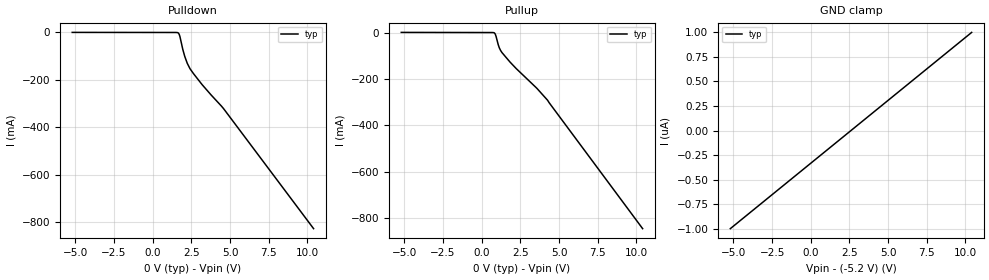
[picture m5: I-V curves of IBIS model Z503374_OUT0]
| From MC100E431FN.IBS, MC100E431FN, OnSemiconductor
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| (C) COPYRIGHT 1993-2000
| MENTOR GRAPHICS CORPORATION
| ICX STANDARD LIBRARY, ICX PROJECT MODELING,
| ICX CUSTOM MODELING, ICX VENDOR MODEL
| ALL RIGHTS RESERVED.
| THE FOLLOWING ARE TRADEMARKS OR SERVICE MARKS OF
| MENTOR GRAPHICS CORPORATION:ICX (R), ICX STANDARD
| LIBRARY(R), ICX PROJECT MODELING(R), ICX CUSTOM
| MODELING(R), qualityIBIS(TM), MODELVIEWER(TM),
| AND MODELEDITOR(TM)
| ALL COPIES OF SOFTWARE, INCLUDING BUT NOT LIMITED TO
| ANY MODIFICATIONS, ENHANCEMENTS OR DERIVATIVE WORKS,
| MUST CONTAIN ALL MENTOR GRAPHICS CORPORATION'S
| NOTICES AND LEGENDS, INCLUDING THOSE EMBEDDED IN
| SOFTWARE AND THOSE AFFIXED TO SOFTWARE MEDIUM
| AND CONTAINER, AS RECEIVED FROM MENTOR GRAPHICS
| CORPORATION.
| Model Application Version 1.89 2/18/99.
[Model] Z503374_OUT0
Model_type Output_ECL
Vref=-2.000V
Rref=50.00ohms
Cref=0.000F
Vmeas=-1.320V
C_comp 8.000pF NA NA
| variable typ   min   max
[Voltage Range] -5.200V NA NA
[POWER Clamp Reference] 0.000V NA NA
[Pullup Reference] 0.000V NA NA
[Pulldown Reference] 0.000V NA NA
[GND Clamp Reference] -5.200V NA NA
[GND Clamp]
-5.2V     -1uA       NA         NA
10.4V     1uA        NA         NA
[Pulldown]
-5.2V     329.4uA    NA         NA
1.66V     -2.305mA   NA         NA
1.714V    -7.716mA   NA         NA
1.764V    -18.06mA   NA         NA
1.944V    -70.73mA   NA         NA
2.07V     -100.3mA   NA         NA
2.236V    -130.2mA   NA         NA
2.412V    -152.7mA   NA         NA
3.196V    -220mA     NA         NA
4.585V    -321.4mA   NA         NA
10.4V     -827.1mA   NA         NA
[Pullup]
-5.2V     584.7uA    NA         NA
824.1mV   -2.057mA   NA         NA
927.8mV   -16.81mA   NA         NA
1.065V    -52.06mA   NA         NA
1.133V    -65.4mA    NA         NA
1.309V    -86.56mA   NA         NA
2.23V     -155.6mA   NA         NA
3.555V    -240.1mA   NA         NA
4.257V    -292.3mA   NA         NA
10.4V     -846.5mA   NA         NA
[POWER Clamp]
-5.2V     0A         NA         NA
10.4V     0A         NA         NA
[Ramp]
| variable typ min max
dV/dt_r 470.4m/296.9p NA NA
dV/dt_f 470.4m/397.6p NA NA
R_load = 500.0Ohms
